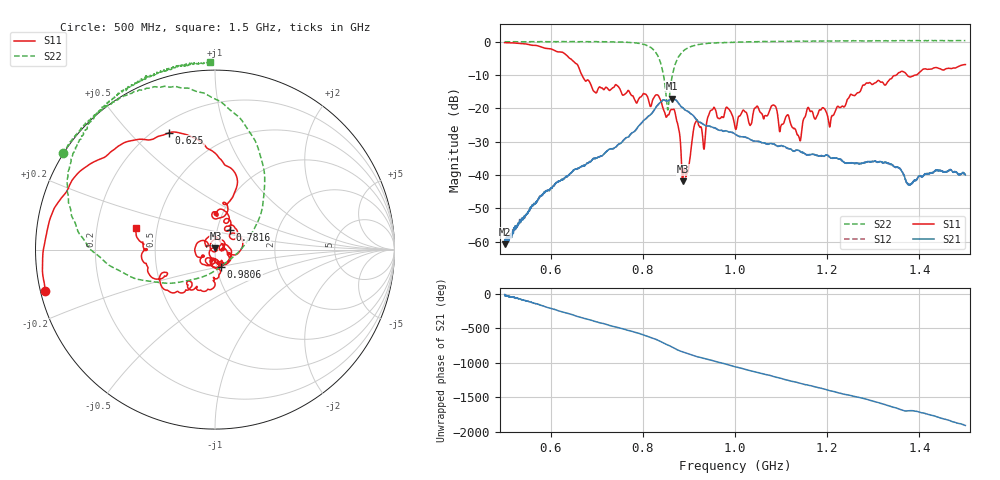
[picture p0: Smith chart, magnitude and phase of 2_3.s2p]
!Keysight Technologies,N5242B,MY48420860,A.13.80.08
!Date: Saturday, September 26, 2020 12:39:59
!Correction: S11(Full 2 Port(1,2))
!S21(Full 2 Port(1,2))
!S12(Full 2 Port(1,2))
!S22(Full 2 Port(1,2))
!S2P File: Measurements: S11, S21, S12, S22:
# Hz S  dB  R 50
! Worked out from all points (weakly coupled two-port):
!   2650 points, 500 MHz to 1.5 GHz, reference 50 ohm
!   highest |S21| = -17.11 dB at 862.4 MHz (marker M1); lowest = -60.8 dB at 500 MHz (marker M2)
!   lowest |S11| = -41.9 dB at 886.2 MHz (marker M3), VSWR 1.02, Z = 50.3 + j0.758 ohm
!   |S11| at or under -10 dB: 667.8 MHz to 1.35 GHz (682.2 MHz wide, 67.6 % of centre); 1.373 GHz to 1.39 GHz (16.4 MHz wide, 1.19 % of centre)
!   |S22| runs from -20.5 to 0.4 dB; largest |S21 - S12| = 0.00061
!   S11 on the Smith chart (normalised r, x): 500 MHz: 0.01, -0.12; 625 MHz: 0.25, +0.65; 781.6 MHz: 1.15, +0.26; 980.6 MHz: 1.05, -0.21; 1.5 GHz: 0.38, +0.12
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5e8  -0.23 -166.2  -60.82 -12.3  -60.49 -22.2  0.03 147.6
6.249528e8  -3.10 111.5  -41.29 97.0  -41.47 95.9  0.07 137.6
6.668554e8  -9.71 71.1  -37.49 14.7  -37.46 14.0  0.04 133.0
7.816157e8  -17.22 53.7  -26.92 164.2  -26.91 164.2  -0.27 110.7
8.337108e8  -16.17 8.0  -18.76 43.9  -18.77 43.8  -4.55 65.2
8.533409e8  -22.11 -12.1  -17.79 -20.5  -17.80 -20.6  -20.03 -33.8
8.624009e8  -20.30 -30.7  -17.11 -48.2  -17.14 -48.3  -11.27 -138.1
8.759909e8  -24.88 -106.3  -18.15 -95.4  -18.17 -95.5  -4.85 -169.7
8.861835e8  -41.92 70.0  -19.70 -120.8  -19.73 -120.8  -2.97 178.2
8.97131e8  -39.18 -73.7  -20.83 -145.4  -20.86 -145.4  -1.86 167.9
9.15251e8  -23.94 62.7  -23.16 172.6  -23.18 172.5  -1.00 157.2
9.322386e8  -32.13 7.6  -24.90 144.6  -24.90 144.6  -0.60 150.3
9.496036e8  -20.50 -18.5  -25.56 115.0  -25.60 115.0  -0.41 145.3
9.805587e8  -19.77 -70.6  -26.70 60.8  -26.72 60.7  -0.23 138.9
1.000189e9  -25.72 -109.7  -27.71 22.2  -27.75 22.1  -0.13 136.1
1.083616e9  -18.96 -178.7  -30.63 -117.9  -30.69 -118.0  0.13 126.2
1.139109e9  -28.71 -8.2  -32.69 146.7  -32.65 146.5  0.18 121.1
1.166667e9  -20.79 -69.8  -33.78 105.7  -33.84 105.2  0.19 118.7
1.206682e9  -24.86 -78.6  -34.78 35.5  -34.78 34.8  0.26 115.7
1.333522e9  -11.71 -122.8  -36.52 178.4  -36.49 178.4  0.34 105.2
1.378067e9  -10.50 -154.7  -42.89 106.4  -43.03 106.5  0.39 101.9
1.5e9  -6.82 164.5  -39.96 -106.2  -39.95 -105.0  0.38 91.4
